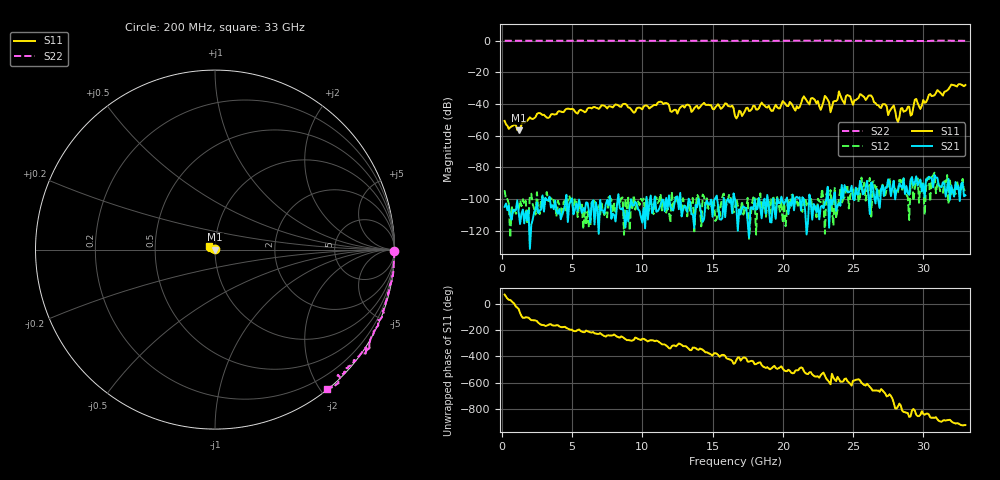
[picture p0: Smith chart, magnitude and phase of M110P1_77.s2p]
# GHZ S RI R 50
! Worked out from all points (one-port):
!   329 points, 200 MHz to 33 GHz, reference 50 ohm
!   lowest |S11| = -56.6 dB at 1.2 GHz (marker M1), VSWR 1.00, Z = 50.1 - j0.0897 ohm
!   |S11| at or under -10 dB: start of sweep to end of sweep
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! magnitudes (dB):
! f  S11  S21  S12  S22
! 200 MHz  -50.7  -105.0  -94.4  0.0
! 1.2 GHz  -56.6  -108.1  -106.4  0.0
! 2.6 GHz  -45.7  -109.0  -107.3  0.0
! 5.7 GHz  -44.0  -108.8  -103.6  0.0
! 11.2 GHz  -38.6  -106.3  -101.1  0.0
! 12.5 GHz  -46.1  -98.3  -101.7  0.0
! 15.9 GHz  -39.6  -111.5  -102.4  0.0
! 16.6 GHz  -47.5  -100.2  -105.0  0.0
! 22.1 GHz  -36.2  -113.0  -105.8  0.0
! 22.7 GHz  -43.6  -104.9  -102.0  0.2
! 23 GHz  -34.9  -102.1  -122.0  0.0
! 23.4 GHz  -45.2  -100.2  -94.4  0.1
! 24 GHz  -32.1  -102.6  -99.9  0.0
! 24.4 GHz  -39.9  -91.2  -98.8  0.0
! 26.3 GHz  -34.7  -89.5  -111.1  -0.1
! 27.6 GHz  -44.6  -90.7  -86.6  -0.1
! 27.9 GHz  -40.9  -88.5  -95.3  -0.1
! 28.2 GHz  -51.5  -94.3  -95.7  -0.1
! 29.2 GHz  -46.6  -86.1  -86.6  -0.1
! 29.5 GHz  -36.7  -85.7  -88.6  0.0
! 29.8 GHz  -43.1  -87.7  -90.1  -0.1
! 33 GHz  -28.0  -97.7  -94.3  0.0
